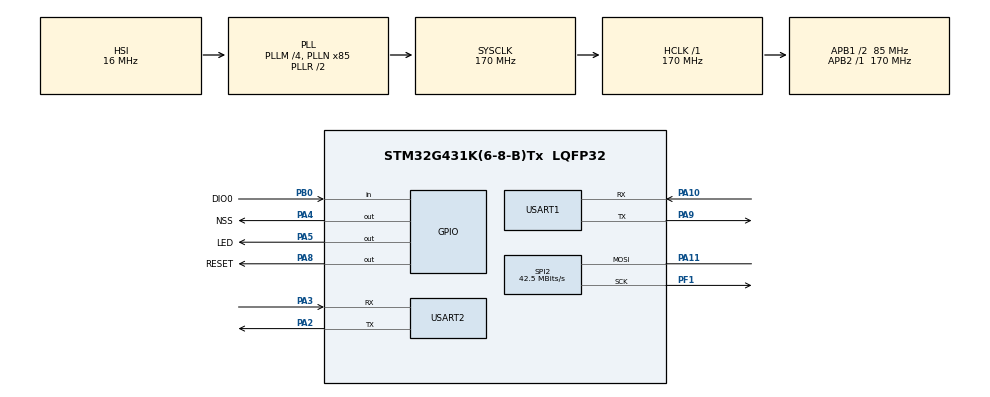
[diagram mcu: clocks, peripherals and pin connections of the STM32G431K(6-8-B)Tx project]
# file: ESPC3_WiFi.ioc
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Mcu.Family=STM32G4
Mcu.Name=STM32G431K(6-8-B)Tx
Mcu.Package=LQFP32
NVIC.PriorityGroup=NVIC_PRIORITYGROUP_4
NVIC.USART1_IRQn=true\:0\:0\:false\:true\:true\:1\:true\:true\:true
PA10.Mode=Asynchronous
PA10.Signal=USART1_RX
PA11.Mode=Simplex_Bidirectional_Master
PA11.Signal=SPI2_MOSI
PA13.Mode=Trace_Asynchronous_SW
PA13.Signal=SYS_JTMS-SWDIO
PA14.Mode=Trace_Asynchronous_SW
PA14.Signal=SYS_JTCK-SWCLK
PA2.Mode=Asynchronous
PA2.Signal=USART2_TX
PA3.Mode=Asynchronous
PA3.Signal=USART2_RX
PA4.GPIO_Label=NSS
PA4.PinState=GPIO_PIN_SET
PA4.Signal=GPIO_Output
PA5.GPIO_Label=LED
PA5.Signal=GPIO_Output
PA8.GPIO_Label=RESET
PA8.PinState=GPIO_PIN_SET
PA8.Signal=GPIO_Output
PA9.Mode=Asynchronous
PA9.Signal=USART1_TX
PB0.GPIO_Label=DIO0
PB0.Signal=GPIO_Input
PB3.Mode=Trace_Asynchronous_SW
PB3.Signal=SYS_JTDO-SWO
PF1-OSC_OUT.Mode=Simplex_Bidirectional_Master
PF1-OSC_OUT.Signal=SPI2_SCK
ProjectManager.HeapSize=0x200
ProjectManager.StackSize=0x400
ProjectManager.TargetToolchain=STM32CubeIDE
RCC.ADC12Freq_Value=170000000
RCC.AHBFreq_Value=170000000
RCC.APB1CLKDivider=RCC_HCLK_DIV2
RCC.APB1Freq_Value=85000000
RCC.APB1TimFreq_Value=170000000
RCC.APB2Freq_Value=170000000
RCC.APB2TimFreq_Value=170000000
RCC.CortexFreq_Value=170000000
RCC.EXTERNAL_CLOCK_VALUE=12288000
RCC.HCLKFreq_Value=170000000
RCC.HSE_VALUE=8000000
RCC.HSI48_VALUE=48000000
RCC.HSI_VALUE=16000000
RCC.LSE_VALUE=32768
RCC.MSI_VALUE=4000000
RCC.PLLM=RCC_PLLM_DIV4
RCC.PLLN=85
RCC.PREFETCH_ENABLE=1
RCC.SYSCLKFreq_VALUE=170000000
RCC.SYSCLKSource=RCC_SYSCLKSOURCE_PLLCLK
RCC.USBFreq_Value=170000000
RCC.VCOOutputFreq_Value=340000000
SPI2.CalculateBaudRate=42.5 MBits/s
SPI2.Direction=SPI_DIRECTION_1LINE
SPI2.Mode=SPI_MODE_MASTER
SPI2.VirtualType=VM_MASTER
USART1.VirtualMode-Asynchronous=VM_ASYNC
USART2.VirtualMode-Asynchronous=VM_ASYNC
VP_SYS_VS_DBSignals.Mode=DisableDeadBatterySignals
board=custom

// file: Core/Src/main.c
/* USER CODE BEGIN Header */
/**
 ******************************************************************************
 * @file           : main.c
 * @brief          : Main program body
 ******************************************************************************
 * @attention
 *
 * <h2><center>&copy; Copyright (c) 2020 STMicroelectronics.
 * All rights reserved.</center></h2>
 *
 * This software component is licensed by ST under BSD 3-Clause license,
 * the "License"; You may not use this file except in compliance with the
 * License. You may obtain a copy of the License at:
 *                        opensource.org/licenses/BSD-3-Clause
 *
 ******************************************************************************
 */
/* USER CODE END Header */
#include "main.h"
#include "spi.h"
#include "usart.h"
#include "gpio.h"

/* USER CODE BEGIN Includes */
#include "stdio.h"
#include "string.h"
#include "ring_buffer.h"
/* USER CODE END Includes */

/* USER CODE BEGIN PD */
#define esp_uart huart1
#define ESP_TRANSMIT_BUFF_SIZE 64
#define ESP_PARSE_BUFF_SIZE 64

char echo_off[] = "ATE0";
char init_wifi[] = "AT+CWINIT=1";
char wifi_mode[] = "AT+CWMODE=1";
char wifi_no_autoconnect[] = "AT+CWAUTOCONN=0";
char wifi_connect[] = "AT+CWJAP=\"DM_TT\",\"W0B35d8y\"";
char ntp_pool[] = "AT+CIPSNTPCFG=1,2,\"pl.pool.ntp.org\"";
char query_time[] = "AT+CIPSNTPTIME?";
/* USER CODE END PD */

/* USER CODE BEGIN PV */
/* Private variables ---------------------------------------------------------*/
RingBuffer_t RxBuffer;
uint8_t UartRxTmp;
uint8_t NewLine;
/* USER CODE END PV */

void SystemClock_Config(void);
static void MX_NVIC_Init(void);
/* USER CODE BEGIN PFP */
/* Private function prototypes -----------------------------------------------*/
int _write(int file, char *ptr, int len);

void ESP_Transmit_Log(char* s);
void ESP_Receive_Log(char* s);

void ESP_Transmit(char* s);

char* EspGetLine(void);
void ESP_WaitForOK(void);
/* USER CODE END PFP */

int main(void)
{

  /* MCU Configuration--------------------------------------------------------*/

  /* Reset of all peripherals, Initializes the Flash interface and the Systick. */
  HAL_Init();

  /* Configure the system clock */
  SystemClock_Config();

  /* Initialize all configured peripherals */
  MX_GPIO_Init();
  MX_USART2_UART_Init();
  MX_USART1_UART_Init();
  MX_SPI2_Init();

  /* Initialize interrupts */
  MX_NVIC_Init();
  /* USER CODE BEGIN 2 */
  HAL_UART_Receive_IT(&esp_uart, &UartRxTmp, 1);

  ESP_Transmit("AT");
  ESP_WaitForOK();

  ESP_Transmit(echo_off);
  ESP_WaitForOK();

  ESP_Transmit(init_wifi);
  ESP_WaitForOK();

  ESP_Transmit(wifi_mode);
  ESP_WaitForOK();

  ESP_Transmit(wifi_no_autoconnect);
  ESP_WaitForOK();

  ESP_Transmit(wifi_connect);
  ESP_WaitForOK();

  ESP_Transmit(ntp_pool);
  ESP_WaitForOK();

  ESP_Transmit(query_time);
  ESP_WaitForOK();

  ESP_Transmit(query_time);
  ESP_WaitForOK();

  /* USER CODE END 2 */

  /* Infinite loop */
  /* USER CODE BEGIN WHILE */
  while (1) {
    __NOP();
    /* USER CODE END WHILE */

	}
}

void SystemClock_Config(void)
{
  RCC_OscInitTypeDef RCC_OscInitStruct = {0};
  RCC_ClkInitTypeDef RCC_ClkInitStruct = {0};

  /** Configure the main internal regulator output voltage
  */
  HAL_PWREx_ControlVoltageScaling(PWR_REGULATOR_VOLTAGE_SCALE1_BOOST);

  /** Initializes the RCC Oscillators according to the specified parameters
  * in the RCC_OscInitTypeDef structure.
  */
  RCC_OscInitStruct.OscillatorType = RCC_OSCILLATORTYPE_HSI;
  RCC_OscInitStruct.HSIState = RCC_HSI_ON;
  RCC_OscInitStruct.HSICalibrationValue = RCC_HSICALIBRATION_DEFAULT;
  RCC_OscInitStruct.PLL.PLLState = RCC_PLL_ON;
  RCC_OscInitStruct.PLL.PLLSource = RCC_PLLSOURCE_HSI;
  RCC_OscInitStruct.PLL.PLLM = RCC_PLLM_DIV4;
  RCC_OscInitStruct.PLL.PLLN = 85;
  RCC_OscInitStruct.PLL.PLLP = RCC_PLLP_DIV2;
  RCC_OscInitStruct.PLL.PLLQ = RCC_PLLQ_DIV2;
  RCC_OscInitStruct.PLL.PLLR = RCC_PLLR_DIV2;
  if (HAL_RCC_OscConfig(&RCC_OscInitStruct) != HAL_OK)
  {
    Error_Handler();
  }

  /** Initializes the CPU, AHB and APB buses clocks
  */
  RCC_ClkInitStruct.ClockType = RCC_CLOCKTYPE_HCLK|RCC_CLOCKTYPE_SYSCLK
                              |RCC_CLOCKTYPE_PCLK1|RCC_CLOCKTYPE_PCLK2;
  RCC_ClkInitStruct.SYSCLKSource = RCC_SYSCLKSOURCE_PLLCLK;
  RCC_ClkInitStruct.AHBCLKDivider = RCC_SYSCLK_DIV1;
  RCC_ClkInitStruct.APB1CLKDivider = RCC_HCLK_DIV2;
  RCC_ClkInitStruct.APB2CLKDivider = RCC_HCLK_DIV1;

  if (HAL_RCC_ClockConfig(&RCC_ClkInitStruct, FLASH_LATENCY_4) != HAL_OK)
  {
    Error_Handler();
  }
}

/**
  * @brief NVIC Configuration.
  * @retval None
  */
static void MX_NVIC_Init(void)
{
  /* USART1_IRQn interrupt configuration */
  HAL_NVIC_SetPriority(USART1_IRQn, 0, 0);
  HAL_NVIC_EnableIRQ(USART1_IRQn);
}

/* USER CODE BEGIN 4 */
int _write(int file, char *ptr, int len) {
  int i;
  HAL_UART_Transmit(&huart2, (uint8_t *)ptr, len, 50);
  for (i = 0; i < len; i++) {
    ITM_SendChar(*ptr++);
  }
  return len;
}

void ESP_Transmit_Log(char* s)
{
  HAL_UART_Transmit(&huart2, (uint8_t*)"T: ", 4, 1000);
  HAL_UART_Transmit(&huart2, (uint8_t*)s, strlen((char*)s), 1000);
}

void ESP_Receive_Log(char* s)
{
  HAL_UART_Transmit(&huart2, (uint8_t*)"R: ", 4, 1000);
  HAL_UART_Transmit(&huart2, (uint8_t*)s, strlen((char*)s), 1000);
  HAL_UART_Transmit(&huart2, (uint8_t*)"\r\n", 4, 1000);
}

void ESP_Transmit(char* s)
{
  uint8_t Tmp[ESP_TRANSMIT_BUFF_SIZE] = {};
  strcat(Tmp, (char*)s);
  strcat(Tmp, "\r\n");
  ESP_Transmit_Log(Tmp);
  HAL_UART_Transmit(&esp_uart, (uint8_t*)Tmp, strlen(Tmp), 1000);
}

void HAL_UART_RxCpltCallback(UART_HandleTypeDef *huart)
{
  if (huart == &esp_uart)
  {
    RB_Write(&RxBuffer, UartRxTmp);

    if (UartRxTmp == '\n')
    {
      NewLine++;
    }
    HAL_UART_Receive_IT(&esp_uart, &UartRxTmp, 1);
  }
}

char* EspGetLine(void)
{
  if (NewLine)
  {
    static char BuffTmp[ESP_PARSE_BUFF_SIZE];
    uint16_t i = 0;

    while (i < ESP_PARSE_BUFF_SIZE)
    {
      RB_Read(&RxBuffer, (uint8_t*)&BuffTmp[i]);

      if (BuffTmp[i] == '\r')
      {
        BuffTmp[i] = '\0';
      }

      if (BuffTmp[i] == '\n')
      {
        BuffTmp[i] = '\0';
        break;
      }
      i++;
    }
    NewLine--;

    return BuffTmp;
  }
  return 0;
}

void ESP_WaitForOK(void)
{
  char* BufferToParse;

  while (1)
  {
    BufferToParse = EspGetLine();

    if (BufferToParse)
    {
      ESP_Receive_Log(BufferToParse);

      if (0 == strncmp((char*)BufferToParse, "OK", ESP_PARSE_BUFF_SIZE))
      {
        break;
      }
    }
  }
}
/* USER CODE END 4 */

void Error_Handler(void)
{
	while (1) {
	}
}
